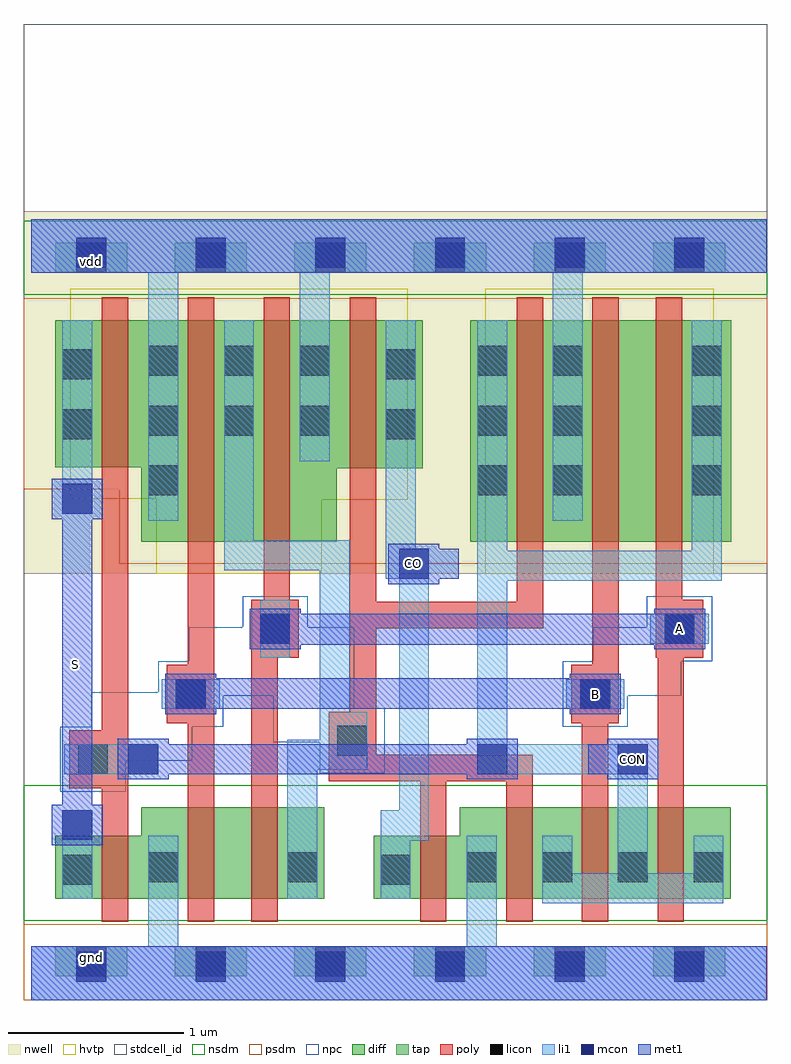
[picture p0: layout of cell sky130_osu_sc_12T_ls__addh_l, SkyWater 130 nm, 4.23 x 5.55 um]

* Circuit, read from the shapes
.subckt sky130_osu_sc_12T_ls__addh_l A B CO CON S gnd vdd
XM1 gnd CON S gnd sky130_fd_pr__nfet_01v8 w=0.36 l=0.15
XM2 n1 B gnd gnd sky130_fd_pr__nfet_01v8 w=0.52 l=0.15
XM3 n2 A n1 gnd sky130_fd_pr__nfet_01v8 w=0.52 l=0.15
XM4 gnd n2 CO gnd sky130_fd_pr__nfet_01v8 w=0.36 l=0.15
XM5 CON n2 gnd gnd sky130_fd_pr__nfet_01v8 w=0.52 l=0.15
XM6 CON B CON gnd sky130_fd_pr__nfet_01v8 w=0.52 l=0.15
XM7 CON A CON gnd sky130_fd_pr__nfet_01v8 w=0.52 l=0.15
XM8 vdd CON S vdd sky130_fd_pr__pfet_01v8_hvt w=0.835 l=0.15
XM9 n2 B vdd vdd sky130_fd_pr__pfet_01v8_hvt w=1.26 l=0.15
XM10 vdd A n2 vdd sky130_fd_pr__pfet_01v8_hvt w=1.26 l=0.15
XM11 CO n2 vdd vdd sky130_fd_pr__pfet_01v8_hvt w=0.84 l=0.15
XM12 vdd n2 CON vdd sky130_fd_pr__pfet_01v8_hvt w=1.26 l=0.15
XM13 n3 B vdd vdd sky130_fd_pr__pfet_01v8_hvt w=1.26 l=0.15
XM14 CON A n3 vdd sky130_fd_pr__pfet_01v8_hvt w=1.26 l=0.15
.ends

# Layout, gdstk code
import gdstk
lib = gdstk.Library(unit=1e-6, precision=1e-09)
def R(c, l, rs):  # rectangles x0, y0, x1, y1
    for r in rs: c.add(gdstk.rectangle(r[:2], r[2:], *l))
def A(c, l, x, y, w, h, nx, ny, dx, dy):  # array of equal rectangles
    R(c, l, [(x+i*dx, y+j*dy, x+i*dx+w, y+j*dy+h) for i in range(nx) for j in range(ny)])
nwell = (64, 20)
diff = (65, 20)
tap = (65, 44)
poly = (66, 20)
licon = (66, 44)
li1 = (67, 20)
mcon = (67, 44)
met1 = (68, 20)
hvtp = (78, 44)
stdcell_id = (81, 4)
nsdm = (93, 44)
psdm = (94, 20)
npc = (95, 20)

sky130_osu_sc_12t_ls__ad = lib.new_cell('sky130_osu_sc_12T_ls__addh_l')
R(sky130_osu_sc_12t_ls__ad, nwell, [(-0.045,2.425,4.185,4.485)])
R(sky130_osu_sc_12t_ls__ad, diff, [(0.135,0.575,1.665,0.935), (1.945,0.575,3.975,0.935), (0.625,0.935,1.665,1.095), (2.435,0.935,3.975,1.095), (0.625,2.605,1.735,3.025), (2.495,2.605,3.98,3.865), (0.625,3.025,2.225,3.03), (0.135,3.03,2.225,3.865)])
A(sky130_osu_sc_12t_ls__ad, tap, 0.135, 0.135, 0.41, 0.17, 6, 2, 0.68, 4)
R(sky130_osu_sc_12t_ls__ad, poly, [(0.4,0.445,0.55,1.205), (0.89,0.445,1.04,1.575), (1.25,0.445,1.4,1.945), (2.21,0.445,2.36,1.245), (2.7,0.445,2.85,1.245), (3.13,0.445,3.28,1.575), (3.56,0.445,3.71,1.945), (0.215,1.205,0.55,1.535), (1.69,1.245,2.85,1.395), (1.69,1.395,1.96,1.64), (0.4,1.535,0.55,3.995), (0.77,1.575,1.04,1.905), (3.07,1.575,3.34,1.905), (1.81,1.64,1.96,2.115), (0.89,1.905,1.04,3.995), (3.19,1.905,3.34,3.995), (1.25,1.945,1.52,2.275), (3.55,1.945,3.82,2.275), (1.81,2.115,2.91,2.265), (1.81,2.265,1.96,3.995), (2.76,2.265,2.91,3.995), (1.32,2.275,1.47,3.995), (3.55,2.275,3.7,3.995)])
A(sky130_osu_sc_12t_ls__ad, licon, 0.255, 0.135, 0.17, 0.17, 6, 2, 0.68, 4)
A(sky130_osu_sc_12t_ls__ad, licon, 2.475, 0.67, 0.17, 0.17, 4, 1, 0.43, 0)
A(sky130_osu_sc_12t_ls__ad, licon, 2.535, 2.87, 0.17, 0.17, 1, 3, 0, 0.34)
A(sky130_osu_sc_12t_ls__ad, licon, 2.965, 2.87, 0.17, 0.17, 1, 3, 0, 0.34)
A(sky130_osu_sc_12t_ls__ad, licon, 3.755, 2.87, 0.17, 0.17, 1, 3, 0, 0.34)
A(sky130_osu_sc_12t_ls__ad, licon, 0.665, 3.21, 0.17, 0.17, 3, 2, 0.43, 0.34)
R(sky130_osu_sc_12t_ls__ad, licon, [(0.175,0.655,0.345,0.825), (1.985,0.655,2.155,0.825), (0.665,0.67,0.835,0.84), (1.455,0.67,1.625,0.84), (0.265,1.285,0.435,1.455), (1.74,1.39,1.91,1.56), (0.82,1.655,0.99,1.825), (3.12,1.655,3.29,1.825), (1.3,2.025,1.47,2.195), (3.6,2.025,3.77,2.195), (0.665,2.87,0.835,3.04), (0.175,3.19,0.345,3.36), (2.015,3.19,2.185,3.36), (0.175,3.53,0.345,3.7), (2.015,3.53,2.185,3.7)])
R(sky130_osu_sc_12t_ls__ad, li1, [(0,0,4.18,0.305), (0.665,0.305,0.835,0.935), (2.475,0.305,2.645,0.935), (2.905,0.55,3.935,0.72), (0.175,0.575,0.345,1.08), (1.455,0.575,1.625,1.31), (1.985,0.575,2.155,0.905), (2.905,0.72,3.075,0.935), (3.335,0.72,3.505,1.285), (3.765,0.72,3.935,0.935), (1.985,0.905,2.26,1.08), (2.09,1.08,2.26,2.395), (0.185,1.285,0.72,1.455), (2.535,1.285,3.505,1.455), (1.455,1.31,1.91,1.48), (2.535,1.455,2.705,2.385), (1.64,1.48,1.91,1.64), (1.64,1.64,1.81,2.445), (0.74,1.655,1.07,1.825), (3.04,1.655,3.37,1.825), (1.3,1.945,1.47,2.275), (3.52,2.025,3.85,2.195), (2.535,2.385,3.925,2.555), (2.015,2.395,2.26,2.565), (1.095,2.445,1.81,2.615), (2.535,2.555,2.705,3.865), (3.755,2.555,3.925,3.865), (2.015,2.565,2.185,3.865), (1.095,2.615,1.265,3.865), (0.665,2.725,0.835,4.135), (2.965,2.725,3.135,4.135), (0.175,2.765,0.345,3.865), (1.525,3.065,1.695,4.135), (0,4.135,4.18,4.44)])
A(sky130_osu_sc_12t_ls__ad, mcon, 0.255, 0.105, 0.17, 0.17, 6, 2, 0.68, 4.06)
R(sky130_osu_sc_12t_ls__ad, mcon, [(0.175,0.91,0.345,1.08), (0.55,1.285,0.72,1.455), (2.535,1.285,2.705,1.455), (3.335,1.285,3.505,1.455), (0.82,1.655,0.99,1.825), (3.12,1.655,3.29,1.825), (1.3,2.025,1.47,2.195), (3.6,2.025,3.77,2.195), (2.09,2.395,2.26,2.565), (0.175,2.765,0.345,2.935)])
R(sky130_osu_sc_12t_ls__ad, met1, [(0,0,4.18,0.305), (0.115,0.88,0.405,1.11), (0.175,1.11,0.345,2.735), (0.49,1.255,0.78,1.285), (2.475,1.255,2.765,1.285), (3.275,1.255,3.565,1.285), (0.49,1.285,2.765,1.455), (3.165,1.285,3.565,1.455), (0.49,1.455,0.78,1.485), (2.475,1.455,2.765,1.485), (3.275,1.455,3.565,1.485), (0.76,1.625,1.05,1.655), (3.06,1.625,3.35,1.655), (0.76,1.655,3.35,1.83), (0.76,1.83,1.05,1.855), (3.06,1.83,3.35,1.855), (1.24,1.995,1.53,2.02), (3.54,1.995,3.83,2.02), (1.24,2.02,3.83,2.195), (1.24,2.195,1.53,2.225), (3.54,2.195,3.83,2.225), (2.03,2.365,2.32,2.395), (2.03,2.395,2.43,2.565), (2.03,2.565,2.32,2.595), (0.115,2.735,0.405,2.965), (0,4.135,4.18,4.44)])
R(sky130_osu_sc_12t_ls__ad, hvtp, [(0.71,2.425,1.65,2.845), (2.58,2.425,3.88,4.045), (0.71,2.845,2.14,2.85), (0.22,2.85,2.14,4.045)])
R(sky130_osu_sc_12t_ls__ad, stdcell_id, [(-0.045,0,4.185,5.55)])
R(sky130_osu_sc_12t_ls__ad, nsdm, [(-0.045,0.45,4.185,1.22), (-0.045,4.01,4.185,4.43)])
R(sky130_osu_sc_12t_ls__ad, psdm, [(-0.045,0,4.185,0.43), (0.5,2.48,4.185,2.905), (-0.045,2.905,4.185,3.99)])
R(sky130_osu_sc_12t_ls__ad, npc, [(0.165,1.185,0.535,1.36), (1.64,1.29,2.01,1.465), (0.165,1.36,0.915,1.555), (1.375,1.465,2.01,1.66), (0.34,1.555,1.09,1.73), (3.02,1.555,3.39,1.73), (1.375,1.66,1.835,1.73), (0.34,1.73,1.835,1.75), (3.02,1.73,3.695,1.925), (0.72,1.75,1.835,1.925), (0.895,1.925,1.835,2.12), (3.195,1.925,3.87,2.12), (1.2,2.12,1.57,2.295), (3.5,2.12,3.87,2.295)])
sky130_osu_sc_12t_ls__ad.add(gdstk.Label('gnd', (0.34,0.24), layer=68, texttype=16))
sky130_osu_sc_12t_ls__ad.add(gdstk.Label('vdd', (0.34,4.2), layer=68, texttype=16))
sky130_osu_sc_12t_ls__ad.add(gdstk.Label('S', (0.25,1.905), layer=68, texttype=5))
sky130_osu_sc_12t_ls__ad.add(gdstk.Label('A', (3.685,2.11), layer=68, texttype=5))
sky130_osu_sc_12t_ls__ad.add(gdstk.Label('B', (3.21,1.74), layer=68, texttype=5))
sky130_osu_sc_12t_ls__ad.add(gdstk.Label('CO', (2.175,2.48), layer=68, texttype=5))
sky130_osu_sc_12t_ls__ad.add(gdstk.Label('CON', (3.42,1.37), layer=68, texttype=5))

lib.write_gds('sky130_osu_sc_12T_ls__addh_l.gds')
